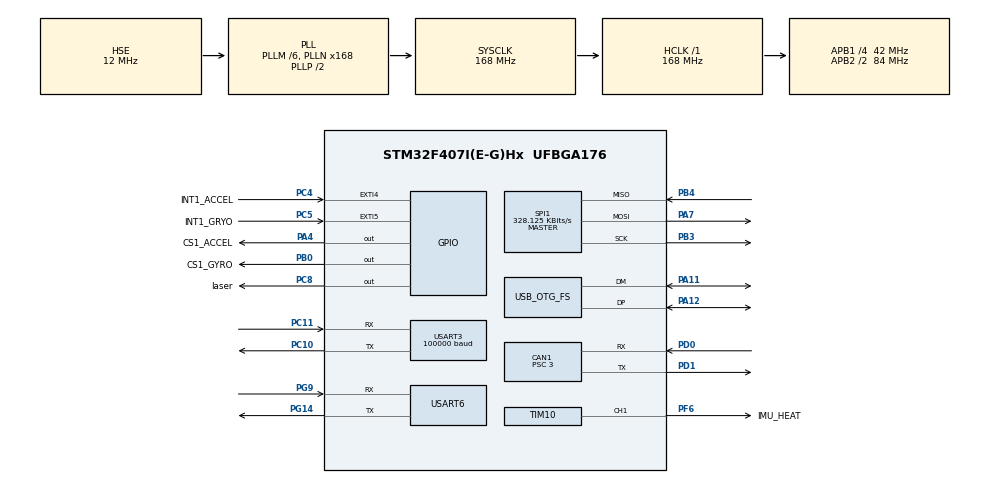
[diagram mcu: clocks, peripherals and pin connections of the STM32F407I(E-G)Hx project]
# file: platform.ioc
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CAN1.ABOM=ENABLE
CAN1.BS1=CAN_BS1_10TQ
CAN1.BS2=CAN_BS2_3TQ
CAN1.CalculateBaudRate=1000000
CAN1.CalculateTimeBit=1000
CAN1.CalculateTimeQuantum=71.42857142857143
CAN1.Prescaler=3
Dma.Request0=USART6_TX
Dma.Request1=USART3_RX
Dma.USART3_RX.1.Direction=DMA_PERIPH_TO_MEMORY
Dma.USART3_RX.1.FIFOMode=DMA_FIFOMODE_DISABLE
Dma.USART3_RX.1.Instance=DMA1_Stream1
Dma.USART3_RX.1.MemDataAlignment=DMA_MDATAALIGN_BYTE
Dma.USART3_RX.1.MemInc=DMA_MINC_ENABLE
Dma.USART3_RX.1.Mode=DMA_NORMAL
Dma.USART3_RX.1.PeriphDataAlignment=DMA_PDATAALIGN_BYTE
Dma.USART3_RX.1.PeriphInc=DMA_PINC_DISABLE
Dma.USART3_RX.1.Priority=DMA_PRIORITY_VERY_HIGH
Dma.USART6_TX.0.Direction=DMA_MEMORY_TO_PERIPH
Dma.USART6_TX.0.FIFOMode=DMA_FIFOMODE_DISABLE
Dma.USART6_TX.0.Instance=DMA2_Stream6
Dma.USART6_TX.0.MemDataAlignment=DMA_MDATAALIGN_BYTE
Dma.USART6_TX.0.MemInc=DMA_MINC_ENABLE
Dma.USART6_TX.0.Mode=DMA_NORMAL
Dma.USART6_TX.0.PeriphDataAlignment=DMA_PDATAALIGN_BYTE
Dma.USART6_TX.0.PeriphInc=DMA_PINC_DISABLE
Dma.USART6_TX.0.Priority=DMA_PRIORITY_LOW
FREERTOS.Tasks01=defaultTask,0,128,StartDefaultTask,Default,NULL,Dynamic,NULL,NULL;can_send_motor,-2,128,Can_Send,As external,NULL,Dynamic,NULL,NULL;Gimbal,-2,128,Gimbal_task,As external,NULL,Dynamic,NULL,NULL;IMU_sloving,-2,128,INS_Calculate,As external,NULL,Dynamic,NULL,NULL
Mcu.Family=STM32F4
Mcu.Name=STM32F407I(E-G)Hx
Mcu.Package=UFBGA176
NVIC.CAN1_RX0_IRQn=true\:6\:0\:true\:false\:true\:true\:true\:true\:true
NVIC.CAN1_RX1_IRQn=true\:5\:0\:true\:false\:true\:true\:true\:true\:true
NVIC.CAN1_TX_IRQn=true\:5\:0\:false\:false\:true\:true\:true\:true\:true
NVIC.DMA1_Stream1_IRQn=true\:5\:0\:false\:false\:true\:true\:false\:true\:true
NVIC.DMA2_Stream6_IRQn=true\:5\:0\:false\:false\:true\:true\:false\:true\:true
NVIC.OTG_FS_IRQn=true\:5\:0\:false\:false\:true\:true\:true\:true\:true
NVIC.PriorityGroup=NVIC_PRIORITYGROUP_4
NVIC.TIM2_IRQn=true\:5\:0\:false\:false\:true\:true\:true\:true\:true
NVIC.USART3_IRQn=true\:5\:0\:false\:false\:false\:true\:true\:true\:true
NVIC.USART6_IRQn=true\:5\:0\:false\:false\:true\:true\:true\:true\:true
PA11.Mode=Device_Only
PA11.Signal=USB_OTG_FS_DM
PA12.Mode=Device_Only
PA12.Signal=USB_OTG_FS_DP
PA13.Mode=Serial_Wire
PA13.Signal=SYS_JTMS-SWDIO
PA14.Mode=Serial_Wire
PA14.Signal=SYS_JTCK-SWCLK
PA4.GPIO_Label=CS1_ACCEL
PA4.Signal=GPIO_Output
PA7.Mode=Full_Duplex_Master
PA7.Signal=SPI1_MOSI
PB0.GPIO_Label=CS1_GYRO
PB0.Signal=GPIO_Output
PB3.Mode=Full_Duplex_Master
PB3.Signal=SPI1_SCK
PB4.Mode=Full_Duplex_Master
PB4.Signal=SPI1_MISO
PC10.Mode=Asynchronous
PC10.Signal=USART3_TX
PC11.Mode=Asynchronous
PC11.Signal=USART3_RX
PC4.GPIO_Label=INT1_ACCEL
PC4.Signal=GPXTI4
PC5.GPIO_Label=INT1_GRYO
PC5.Signal=GPXTI5
PC8.GPIO_Label=laser
PC8.PinState=GPIO_PIN_RESET
PC8.Signal=GPIO_Output
PD0.Mode=CAN_Activate
PD0.Signal=CAN1_RX
PD1.Mode=CAN_Activate
PD1.Signal=CAN1_TX
PF6.GPIO_Label=IMU_HEAT
PF6.GPIO_PuPd=GPIO_PULLUP
PF6.GPIO_Speed=GPIO_SPEED_FREQ_HIGH
PF6.Signal=S_TIM10_CH1
PG14.Mode=Asynchronous
PG14.Signal=USART6_TX
PG9.Mode=Asynchronous
PG9.Signal=USART6_RX
PH0-OSC_IN.Mode=HSE-External-Oscillator
PH0-OSC_IN.Signal=RCC_OSC_IN
PH1-OSC_OUT.Mode=HSE-External-Oscillator
PH1-OSC_OUT.Signal=RCC_OSC_OUT
ProjectManager.HeapSize=0x2000
ProjectManager.StackSize=0x4000
ProjectManager.TargetToolchain=MDK-ARM V5.32
RCC.48MHZClocksFreq_Value=48000000
RCC.AHBFreq_Value=168000000
RCC.APB1CLKDivider=RCC_HCLK_DIV4
RCC.APB1Freq_Value=42000000
RCC.APB1TimFreq_Value=84000000
RCC.APB2CLKDivider=RCC_HCLK_DIV2
RCC.APB2Freq_Value=84000000
RCC.APB2TimFreq_Value=168000000
RCC.CortexFreq_Value=168000000
RCC.HCLKFreq_Value=168000000
RCC.HSE_VALUE=12000000
RCC.HSI_VALUE=16000000
RCC.LSE_VALUE=32768
RCC.PLLM=6
RCC.PLLN=168
RCC.PLLQ=7
RCC.SYSCLKFreq_VALUE=168000000
RCC.SYSCLKSource=RCC_SYSCLKSOURCE_PLLCLK
RCC.VCOOutputFreq_Value=336000000
SH.S_TIM10_CH1.0=TIM10_CH1,PWM Generation1 CH1
SPI1.BaudRatePrescaler=SPI_BAUDRATEPRESCALER_256
SPI1.CLKPhase=SPI_PHASE_2EDGE
SPI1.CLKPolarity=SPI_POLARITY_HIGH
SPI1.CalculateBaudRate=328.125 KBits/s
SPI1.Direction=SPI_DIRECTION_2LINES
SPI1.Mode=SPI_MODE_MASTER
SPI1.VirtualType=VM_MASTER
TIM10.Channel=TIM_CHANNEL_1
TIM10.Period=2000-1
TIM10.Prescaler=84-1
TIM2.Period=4399
USART3.BaudRate=100000
USART3.Mode=MODE_RX
USART3.Parity=PARITY_EVEN
USART3.VirtualMode=VM_ASYNC
USART6.VirtualMode=VM_ASYNC
USB_DEVICE.CLASS_NAME_FS=CDC
USB_DEVICE.VirtualMode-CDC_FS=Cdc
USB_DEVICE.VirtualModeFS=Cdc_FS
USB_OTG_FS.VirtualMode=Device_Only
VP_FREERTOS_VS_CMSIS_V1.Mode=CMSIS_V1
VP_TIM10_VS_ClockSourceINT.Mode=Enable_Timer
VP_TIM2_VS_ClockSourceINT.Mode=Internal
VP_USB_DEVICE_VS_USB_DEVICE_CDC_FS.Mode=CDC_FS
board=custom

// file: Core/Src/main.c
/* USER CODE BEGIN Header */
/**
  ******************************************************************************
  * @file           : main.c
  * @brief          : Main program body
  ******************************************************************************
  * @attention
  *
  * Copyright (c) 2025 STMicroelectronics.
  * All rights reserved.
  *
  * This software is licensed under terms that can be found in the LICENSE file
  * in the root directory of this software component.
  * If no LICENSE file comes with this software, it is provided AS-IS.
  *
  ******************************************************************************
  */
/* USER CODE END Header */
#include "main.h"
#include "cmsis_os.h"
#include "can.h"
#include "dma.h"
#include "spi.h"
#include "tim.h"
#include "usart.h"
#include "gpio.h"

/* USER CODE BEGIN Includes */
#include "BMI088driver.h"
#include "imu.h"
#include "vofa.h"
#include "motor.h"
#include "config.h"
#include "pid.h"
#include "CAN_receive.h"
#include "bsp_can.h"
#include "remote_control.h"
/* USER CODE END Includes */

/* USER CODE BEGIN PD */
uint8_t a;

/* USER CODE END PD */

void SystemClock_Config(void);
void MX_FREERTOS_Init(void);

/* USER CODE BEGIN 0 */

//定时器2中断回调函数，获取欧拉角（TIM2 callback，get Euler angles）

// void HAL_TIM_PeriodElapsedCallback(TIM_HandleTypeDef *htim){
// 	if (htim==&htim2){
// 		IMU_getEuleranAngles();
// 		__HAL_TIM_CLEAR_IT(&htim2, TIM_IT_UPDATE);
// 	}
// }

/* USER CODE END 0 */

int main(void)
{

  /* MCU Configuration--------------------------------------------------------*/

  /* Reset of all peripherals, Initializes the Flash interface and the Systick. */
  HAL_Init();

  /* Configure the system clock */
  SystemClock_Config();

  /* Initialize all configured peripherals */
  MX_GPIO_Init();
  MX_DMA_Init();
  MX_SPI1_Init();
  MX_TIM2_Init();
  MX_TIM10_Init();
  MX_USART6_UART_Init();
  MX_CAN1_Init();
  MX_USART3_UART_Init();
  /* USER CODE BEGIN 2 */

  //BMI088初始化
while(BMI088_init())
  {
      ;
  }
  remote_control_init();
  gimbal_PID_init();
  can_filter_init();
	HAL_TIM_Base_Start_IT(&htim2);
  local_rc_ctrl = get_remote_control_point();

  /* USER CODE END 2 */

  /* Call init function for freertos objects (in cmsis_os2.c) */
  MX_FREERTOS_Init();

  /* Start scheduler */
  osKernelStart();

  /* We should never get here as control is now taken by the scheduler */

  /* Infinite loop */
  while (1)
  {

  }
}

void SystemClock_Config(void)
{
  RCC_OscInitTypeDef RCC_OscInitStruct = {0};
  RCC_ClkInitTypeDef RCC_ClkInitStruct = {0};

  /** Configure the main internal regulator output voltage
  */
  __HAL_RCC_PWR_CLK_ENABLE();
  __HAL_PWR_VOLTAGESCALING_CONFIG(PWR_REGULATOR_VOLTAGE_SCALE1);

  /** Initializes the RCC Oscillators according to the specified parameters
  * in the RCC_OscInitTypeDef structure.
  */
  RCC_OscInitStruct.OscillatorType = RCC_OSCILLATORTYPE_HSE;
  RCC_OscInitStruct.HSEState = RCC_HSE_ON;
  RCC_OscInitStruct.PLL.PLLState = RCC_PLL_ON;
  RCC_OscInitStruct.PLL.PLLSource = RCC_PLLSOURCE_HSE;
  RCC_OscInitStruct.PLL.PLLM = 6;
  RCC_OscInitStruct.PLL.PLLN = 168;
  RCC_OscInitStruct.PLL.PLLP = RCC_PLLP_DIV2;
  RCC_OscInitStruct.PLL.PLLQ = 4;
  if (HAL_RCC_OscConfig(&RCC_OscInitStruct) != HAL_OK)
  {
    Error_Handler();
  }

  /** Initializes the CPU, AHB and APB buses clocks
  */
  RCC_ClkInitStruct.ClockType = RCC_CLOCKTYPE_HCLK|RCC_CLOCKTYPE_SYSCLK
                              |RCC_CLOCKTYPE_PCLK1|RCC_CLOCKTYPE_PCLK2;
  RCC_ClkInitStruct.SYSCLKSource = RCC_SYSCLKSOURCE_PLLCLK;
  RCC_ClkInitStruct.AHBCLKDivider = RCC_SYSCLK_DIV1;
  RCC_ClkInitStruct.APB1CLKDivider = RCC_HCLK_DIV4;
  RCC_ClkInitStruct.APB2CLKDivider = RCC_HCLK_DIV2;

  if (HAL_RCC_ClockConfig(&RCC_ClkInitStruct, FLASH_LATENCY_5) != HAL_OK)
  {
    Error_Handler();
  }
}

void Error_Handler(void)
{
  __disable_irq();
  while (1)
  {
  }
}

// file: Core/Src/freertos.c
/* USER CODE BEGIN Header */
/**
  ******************************************************************************
  * File Name          : freertos.c
  * Description        : Code for freertos applications
  ******************************************************************************
  * @attention
  *
  * Copyright (c) 2025 STMicroelectronics.
  * All rights reserved.
  *
  * This software is licensed under terms that can be found in the LICENSE file
  * in the root directory of this software component.
  * If no LICENSE file comes with this software, it is provided AS-IS.
  *
  ******************************************************************************
  */
/* USER CODE END Header */

#include "FreeRTOS.h"
#include "task.h"
#include "main.h"
#include "cmsis_os.h"

/* USER CODE BEGIN Includes */
#include "CAN_receive.h"
#include "motor.h"
#include "Gimbal.h"
#include "remote_control.h"
#include "Serial.h"
#include "VPC.h"
/* USER CODE END Includes */

/* USER CODE BEGIN Variables */
osThreadId VPCHandle;
/* USER CODE END Variables */
osThreadId defaultTaskHandle;
osThreadId can_send_motorHandle;
osThreadId GimbalHandle;
osThreadId IMU_slovingHandle;

void StartDefaultTask(void const * argument);
extern void Can_Send(void const * argument);
extern void Gimbal_task(void);
extern void INS(void const * argument);

extern void MX_USB_DEVICE_Init(void);
void MX_FREERTOS_Init(void); /* (MISRA C 2004 rule 8.1) */

/* GetIdleTaskMemory prototype (linked to static allocation support) */
void vApplicationGetIdleTaskMemory( StaticTask_t **ppxIdleTaskTCBBuffer, StackType_t **ppxIdleTaskStackBuffer, uint32_t *pulIdleTaskStackSize );

/* USER CODE BEGIN GET_IDLE_TASK_MEMORY */
static StaticTask_t xIdleTaskTCBBuffer;
static StackType_t xIdleStack[configMINIMAL_STACK_SIZE];

void vApplicationGetIdleTaskMemory( StaticTask_t **ppxIdleTaskTCBBuffer, StackType_t **ppxIdleTaskStackBuffer, uint32_t *pulIdleTaskStackSize )
{
  *ppxIdleTaskTCBBuffer = &xIdleTaskTCBBuffer;
  *ppxIdleTaskStackBuffer = &xIdleStack[0];
  *pulIdleTaskStackSize = configMINIMAL_STACK_SIZE;
  /* place for user code */
}
/* USER CODE END GET_IDLE_TASK_MEMORY */

void MX_FREERTOS_Init(void) {

  /* Create the thread(s) */
  /* definition and creation of defaultTask */
  osThreadDef(defaultTask, StartDefaultTask, osPriorityNormal, 0, 128);
  defaultTaskHandle = osThreadCreate(osThread(defaultTask), NULL);

  /* definition and creation of can_send_motor */
  osThreadDef(can_send_motor, Can_Send, osPriorityIdle, 0, 128);
  can_send_motorHandle = osThreadCreate(osThread(can_send_motor), NULL);

  /* definition and creation of Gimbal */
  osThreadDef(Gimbal, Gimbal_task, osPriorityIdle, 0, 128);
  GimbalHandle = osThreadCreate(osThread(Gimbal), NULL);

  /* definition and creation of IMU_sloving */
  osThreadDef(IMU_sloving, INS, osPriorityLow, 0, 128);
  IMU_slovingHandle = osThreadCreate(osThread(IMU_sloving), NULL);

}

void StartDefaultTask(void const * argument)
{
  /* init code for USB_DEVICE */
  MX_USB_DEVICE_Init();
  for(;;)
  {
    osDelay(1);
  }
}

/* USER CODE BEGIN Application */

void VPC_Task(void *argument)
{
   VPC_Init();
   uint32_t lastWakeTime = osKernelGetTickCount();
   for(;;)
    {
        VPC_Receive();
        Pack_And_Send_Data_ROS2(&aim_packet_to_nuc);
        osDelayUntil(&lastWakeTime, VPC_TASK_PERIOD);
    }

}

/* USER CODE END Application */
